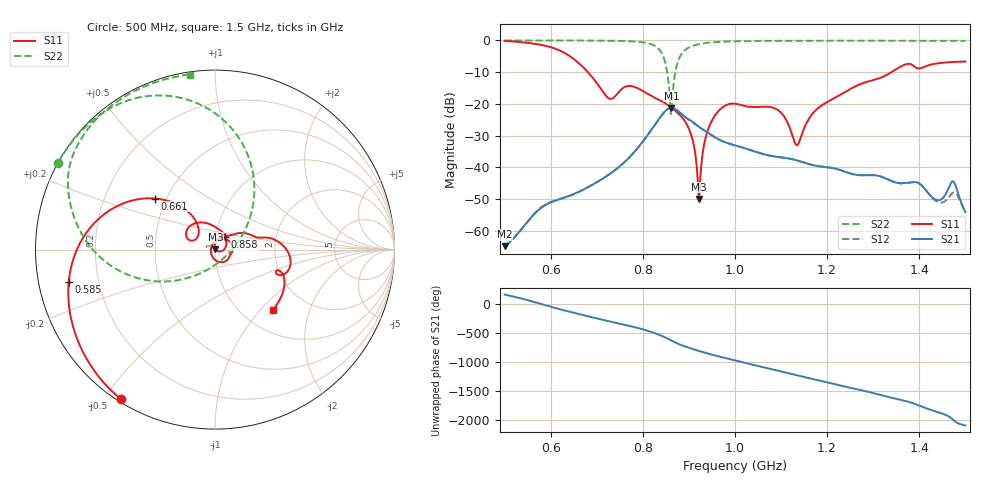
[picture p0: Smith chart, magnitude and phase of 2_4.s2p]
! TOUCHSTONE file generated by CST MICROWAVE STUDIO
! Date and time: Wed Oct 28 19:13:38 2020
! Project name: Scenario_1_Circular_Tissue_out_of_Line.cst
! Parameters = {dy1=-328.659; L_HA=400; MT=2.54; Rad_Dielectric=30; Rad_Lower=7.3; Rad_Upper=30; a_HA=580; a_WG=246; b_HA=500; b_WG=121; c_HA=0; c_WG=187; d_feed=85; dx1=693; h_feed=15; h_lower=18; h_upper=40}
! Header version: 2018
! Port assignment regex: !\s*Touchstone port\s*([0-9]+)\s*=\s*(CST MWS port|CST DS port)\s*([0-9]+|Zmin|Zmax)\s*\(\"(.*)\"\)(\s*mode\s*([0-9]+))?.*
! Touchstone port assignment:
! Touchstone port 1 = CST MWS port 1 ("")
! Touchstone port 2 = CST MWS port 2 ("")
# GHz S DB R 50
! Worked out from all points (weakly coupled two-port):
!   1001 points, 500 MHz to 1.5 GHz, reference 50 ohm
!   highest |S21| = -21.26 dB at 862 MHz (marker M1); lowest = -64.9 dB at 500 MHz (marker M2)
!   lowest |S11| = -50.0 dB at 922 MHz (marker M3), VSWR 1.01, Z = 50.2 + j0.209 ohm
!   |S11| at or under -10 dB: 680.6 MHz to 1.339 GHz (658.7 MHz wide, 65.2 % of centre)
!   |S22| runs from -23.2 to 0.0 dB; largest |S21 - S12| = 0.0023
!   S11 on the Smith chart (normalised r, x): 500 MHz: 0.01, -0.55; 585 MHz: 0.09, -0.11; 661 MHz: 0.44, +0.31; 858 MHz: 1.11, +0.16; 1.5 GHz: 1.37, -1.17
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0.5  -0.14 -122.1  -64.87 165.8  -64.82 164.7  -0.01 151.1
0.585  -1.57 -167.5  -52.23 -10.9  -52.04 -10.9  -0.02 145.3
0.661  -7.18 139.4  -47.71 -169.7  -47.81 -169.1  -0.04 139.0
0.667  -7.97 135.9  -47.29 178.4  -47.38 178.9  -0.04 138.4
0.727  -18.33 141.6  -42.23 64.0  -42.21 63.4  -0.10 131.5
0.772  -14.35 138.9  -36.67 -17.3  -36.71 -17.4  -0.25 123.1
0.834  -18.68 80.6  -24.97 -163.4  -24.97 -163.4  -2.62 87.9
0.849  -19.85 62.7  -22.25 144.3  -22.23 144.5  -7.22 60.0
0.858  -20.82 51.6  -21.36 108.3  -21.33 108.5  -16.95 20.6
0.862  -21.25 46.6  -21.26 91.9  -21.24 92.1  -22.87 -69.9
0.877  -23.03 26.3  -22.35 35.2  -22.33 35.6  -6.29 -162.0
0.902  -28.57 -13.8  -25.12 -36.7  -25.25 -37.1  -2.09 169.1
0.922  -49.98 40.9  -27.29 -87.6  -27.26 -87.3  -1.17 159.0
0.948  -25.80 73.6  -29.72 -146.0  -29.84 -145.8  -0.62 150.6
1  -19.96 2.4  -33.10 112.5  -33.10 112.5  -0.29 140.8
1.092  -21.84 -60.4  -36.70 -63.2  -36.74 -63.2  -0.14 130.7
1.134  -33.06 173.4  -37.81 -144.9  -37.80 -145.0  -0.11 127.1
1.167  -23.32 69.5  -39.25 153.7  -39.23 153.9  -0.10 124.4
1.334  -10.47 12.8  -43.97 -162.9  -43.98 -162.9  -0.09 111.7
1.44  -7.22 -27.5  -50.38 -60.7  -50.93 -61.5  -0.11 103.3
1.473  -6.81 -38.3  -44.40 170.3  -48.03 -177.4  -0.12 100.4
1.5  -6.64 -46.1  -54.14 69.3  -54.21 68.9  -0.13 98.2
